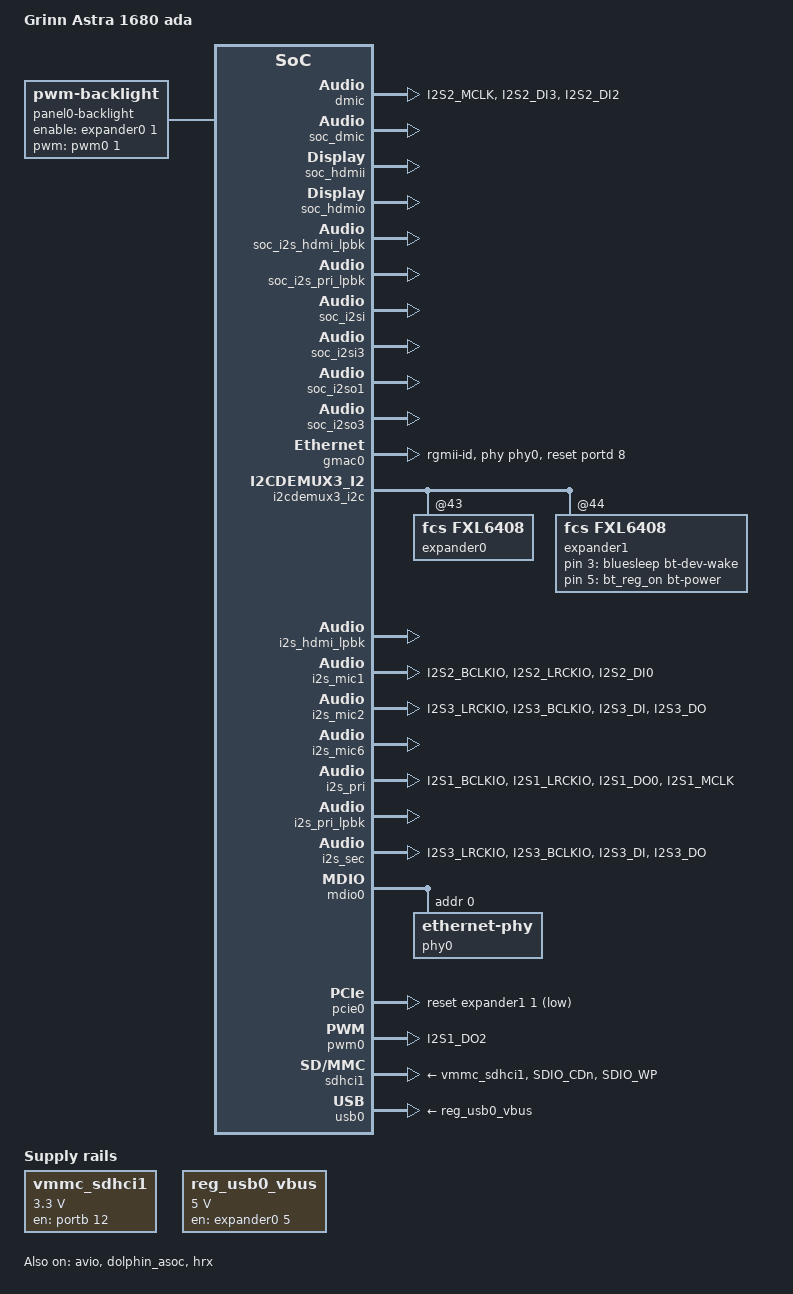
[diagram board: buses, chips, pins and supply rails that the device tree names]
/* SPDX-License-Identifier: GPL-2.0+ */
/*
* Copyright (C) 2016~2023 Synaptics Incorporated. All rights reserved.
*
* This program is free software; you can redistribute it and/or modify
* it under the terms of the GNU General Public License version 2 or
* later as published by the Free Software Foundation.
*
* INFORMATION CONTAINED IN THIS DOCUMENT IS PROVIDED "AS-IS," AND
* SYNAPTICS EXPRESSLY DISCLAIMS ALL EXPRESS AND IMPLIED WARRANTIES,
* INCLUDING ANY IMPLIED WARRANTIES OF MERCHANTABILITY AND FITNESS FOR
* A PARTICULAR PURPOSE, AND ANY WARRANTIES OF NON-INFRINGEMENT OF ANY
* INTELLECTUAL PROPERTY RIGHTS. IN NO EVENT SHALL SYNAPTICS BE LIABLE
* FOR ANY DIRECT, INDIRECT, INCIDENTAL, SPECIAL, PUNITIVE, OR
* CONSEQUENTIAL DAMAGES ARISING OUT OF OR IN CONNECTION WITH THE USE
* OF THE INFORMATION CONTAINED IN THIS DOCUMENT, HOWEVER CAUSED AND
* BASED ON ANY THEORY OF LIABILITY, WHETHER IN AN ACTION OF CONTRACT,
* NEGLIGENCE OR OTHER TORTIOUS ACTION, AND EVEN IF SYNAPTICS WAS
* ADVISED OF THE POSSIBILITY OF SUCH DAMAGE. IF A TRIBUNAL OF
* COMPETENT JURISDICTION DOES NOT PERMIT THE DISCLAIMER OF DIRECT
* DAMAGES OR ANY OTHER DAMAGES, SYNAPTICS' TOTAL CUMULATIVE LIABILITY
* TO ANY PARTY SHALL NOT EXCEED ONE HUNDRED U.S. DOLLARS.
*/

/dts-v1/;

#include "grinn-astra-1680.dtsi"

/ {
	model = "Grinn Astra 1680 ada";
	compatible = "syna,dolphin-evk", "syna,dolphin";

	bluesleep: bluesleep {
		compatible = "syna,bluesleep";
		bt-dev-wake-gpio = <&expander1 3 GPIO_ACTIVE_HIGH>;
	};

	bt_reg_on: bt_reg_on {
		compatible = "syna,rfkill";
		bt-power-gpio = <&expander1 5 GPIO_ACTIVE_HIGH>;
	};

	panel0-backlight {
		compatible = "pwm-backlight";
		pwms = <&pwm0 1 1000000 0>;
		brightness-levels = <0 4 8 16 32 64 128 255>;
		default-brightness-level = <6>;
		enable-gpio = <&expander0 1 GPIO_ACTIVE_HIGH>;
		status = "okay";
	};

	regulators {
		compatible = "simple-bus";
		#address-cells = <1>;
		#size-cells = <0>;

		vmmc_sdhci1: vmmc_sdhci1 {
			compatible = "regulator-fixed";
			regulator-name = "vmmc_sdio";
			regulator-min-microvolt = <3300000>;
			regulator-max-microvolt = <3300000>;
			enable-active-high;
			gpio = <&portb 12 GPIO_ACTIVE_HIGH>;
		};

		reg_usb0_vbus: usb0_vbus {
			compatible = "regulator-fixed";
			regulator-name = "usb0_vbus";
			regulator-min-microvolt = <5000000>;
			regulator-max-microvolt = <5000000>;
			enable-active-high;
			gpio = <&expander0 5 GPIO_ACTIVE_HIGH>;
		};
	};
};

&avio {
	status = "okay";
	pinctrl-0 = <&hdmitx5v_pmux>;
	pinctrl-names = "default";

	vpp {
		hdtx5v-gpio = <&portb 23 GPIO_ACTIVE_HIGH>;
	};
};

&avio_pinctrl {
	pdm_pmux: pdm-pmux {
		groups = "I2S2_MCLK", "I2S2_DI3", "I2S2_DI2";
		function = "pdm";
	};

	i2s1_pmux: i2s1-pmux {
		groups = "I2S1_BCLKIO", "I2S1_LRCKIO", "I2S1_DO0", "I2S1_MCLK";
		function = "i2s1";
	};

	i2s2_pmux: i2s2-pmux {
		groups = "I2S2_BCLKIO", "I2S2_LRCKIO", "I2S2_DI0";
		function = "i2s2";
	};

	i2s3_pmux: i2s3-pmux {
		groups = "I2S3_LRCKIO", "I2S3_BCLKIO", "I2S3_DI", "I2S3_DO";
		function = "i2s3";
	};

	pwm2_pmux: pwm2-pmux {
		groups = "I2S1_DO2";
		function = "pwm";
	};
};

&dmic {
	status = "okay";
	pinctrl-0 = <&pdm_pmux>;
	pinctrl-names = "default";
	pdm-type = <1>;
	pdm-clk-sel = <2>;
	ch-shift-check;
};

&dolphin_asoc {
	status = "okay";

	soc_dmic: soc-dmic {
		status = "okay";
		stream-name = "soc-dmic";
		link-name = "soc-dmic";
		cpu-node = <&dmic>;
		codec-name = "snd-soc-dummy";
		codec-dai-name = "snd-soc-dummy-dai";
		platform-node = <&dolphin_pcm>;
	};

	soc_hdmii: soc-hdmii {
		status = "okay";
		stream-name = "soc-hdmii";
		link-name = "soc-hdmii";
		cpu-node = <&hdmi_in>;
		codec-name = "snd-soc-dummy";
		codec-dai-name = "snd-soc-dummy-dai";
		platform-node = <&dolphin_pcm>;
	};

	soc_hdmio: soc-hdmio {
		status = "okay";
		stream-name = "soc-hdmio";
		link-name = "soc-hdmio";
		format = "i2s";
		cpu-node = <&hdmi_out>;
		codec-name = "snd-soc-dummy";
		codec-dai-name = "snd-soc-dummy-dai";
		platform-node = <&dolphin_pcm>;
	};

	soc_i2s_hdmi_lpbk: soc-i2s-hdmi-lpbk {
		status = "okay";
		stream-name = "soc-i2s-hdmi-lpbk";
		link-name = "soc-i2s-hdmi-lpbk";
		format = "i2s";
		cpu-node = <&i2s_hdmi_lpbk>;
		codec-name = "snd-soc-dummy";
		codec-dai-name = "snd-soc-dummy-dai";
		platform-node = <&dolphin_pcm>;
	};

	soc_i2s_pri_lpbk: soc-i2s-pri-lpbk {
		status = "okay";
		stream-name = "soc-i2s-pri-lpbk";
		link-name = "soc-i2s-pri-lpbk";
		format = "i2s";
		cpu-node = <&i2s_pri_lpbk>;
		codec-name = "snd-soc-dummy";
		codec-dai-name = "snd-soc-dummy-dai";
		platform-node = <&dolphin_pcm>;
	};

	soc_i2si: soc-i2si2 {
		status = "okay";
		stream-name = "soc-i2si2";
		link-name = "soc-i2si2";
		format = "i2s";
		bitclock-master;
		frame-master;
		cpu-node = <&i2s_mic1>;
		codec-name = "snd-soc-dummy";
		codec-dai-name = "snd-soc-dummy-dai";
		platform-node = <&dolphin_pcm>;
	};

	soc_i2si3: soc-i2si3 {
		status = "okay";
		stream-name = "btsco-in";
		link-name = "btsco-in";
		format = "dsp_b";
		bitclock-master;
		frame-master;
		continuous-clock;
		cpu-node = <&i2s_mic2>;
		codec-name = "snd-soc-dummy";
		codec-dai-name = "snd-soc-dummy-dai";
		platform-node = <&dolphin_pcm>;
	};

	soc_i2so1: soc-i2so1 {
		status = "okay";
		stream-name = "soc-i2so1";
		link-name = "soc-i2so1";
		format = "i2s";
		continuous-clock;
		bitclock-inversion;
		frame-inversion;
		cpu-node = <&i2s_pri>;
		codec-name = "snd-soc-dummy";
		codec-dai-name = "snd-soc-dummy-dai";
		platform-node = <&dolphin_pcm>;
	};

	soc_i2so3: soc-i2so3 {
		status = "okay";
		stream-name = "soc-i2so3";
		link-name = "soc-i2so3";
		format = "dsp_b";
		bitclock-master;
		frame-master;
		cpu-node = <&i2s_sec>;
		codec-name = "snd-soc-dummy";
		codec-dai-name = "snd-soc-dummy-dai";
		platform-node = <&dolphin_pcm>;
	};
};

&gmac0 {
	status = "okay";
	pinctrl-0 = <&gmac0_pmux>, <&gmac_gpio_pmux>;
	pinctrl-names = "default";
	phy-handle = <&phy0>;
	phy-mode = "rgmii-id";
	snps,reset-gpio = <&portd 8 GPIO_ACTIVE_HIGH>;
	snps,reset-delays-us = <0 10000 50000>;
};

&hrx {
	status = "okay";
	pinctrl-0 = <&hrx5v_pmux>, <&hrxhpd_pmux>, <&hrxedid_pmux>;
	pinctrl-names = "default";
	hrxhpd-gpio = <&portd 2 GPIO_ACTIVE_HIGH>;
	hrx5v-gpio = <&portd 21 GPIO_ACTIVE_HIGH>;
};

&i2cdemux3_i2c {
	expander0: gpio@43 {
		compatible = "fcs,fxl6408";
		reg = <0x43>;
		gpio-controller;
		#gpio-cells = <2>;
		gpio-line-names = "PWR_SOC_VCORE_EN", "PWR_ON_DSI", "VDDM_ON", "VDDM_LPQ_OFF",
				  "STAND_BY_EN", "USB2.0_PWR_EN", "M2_PCIe_CLK_REQ", "GPIO_DSI";
	};

	expander1: gpio@44 {
		compatible = "fcs,fxl6408";
		reg = <0x44>;
		gpio-controller;
		#gpio-cells = <2>;
		gpio-line-names = "GPIO_CSI0", "M2_PCIe_RST", "M2_SDIO_DISABLE1", "M2_SDIO_HOST_WAKE",
				  "PWR_ON_CSI0", "M2_SDIO_HOST_DISABLE2", "GPIO_CSI1", "PWR_ON_CSI1";
	};
};

&i2s_hdmi_lpbk {
	status = "okay";
};

&i2s_mic1 {
	status = "okay";
	pinctrl-0 = <&i2s2_pmux>;
	pinctrl-names = "default";
	intlmode;
};

&i2s_mic2 {
	status = "okay";
	pinctrl-0 = <&i2s3_pmux>;
	pinctrl-names = "default";
	duplex;
	disablemicmute;
};

&i2s_mic6 {
	status = "okay";
};

&i2s_pri {
	status = "okay";
	pinctrl-0 = <&i2s1_pmux>;
	pinctrl-names = "default";
};

&i2s_pri_lpbk {
	status = "okay";
};

&i2s_sec {
	status = "okay";
	pinctrl-0 = <&i2s3_pmux>;
	pinctrl-names = "default";
	duplex;
	sample-period = <32>;
};

&mdio0 {
	phy0: ethernet-phy@0 {
		reg = <0>;
		realtek,clkout-disable;
		realtek,rxc-ssc-enable;
		realtek,sysclk-ssc-enable;
	};
};

&pcie0 {
	reset-gpios = <&expander1 1 GPIO_ACTIVE_LOW>;
};

&pinctrl {
	hdmitx5v_pmux: hdmitx5v-pmux {
		groups = "USB2_DRV_VBUS";
		function = "gpio";
	};

	sdhci1_pmux: sdhci1-pmux {
		groups = "SDIO_CDn";
		function = "sdio";
		drive-strength = <7>;
	};

	sdhci1_gpio_pmux: sdhci1-gpio-pmux {
		groups = "SDIO_WP";
		function = "gpio";
	};
};

&pwm0 {
	status = "okay";
	pinctrl-0 = <&pwm2_pmux>;
	pinctrl-names = "default";
};

&sdhci1 {
	status = "okay";
	pinctrl-0 = <&sdhci1_pmux>, <&sdhci1_gpio_pmux>;
	pinctrl-names = "default";
	no-sdio;
	no-mmc;
	disable-wp;
	sdclkdl-dc = /bits/ 8 <75>;
	pad-sp = /bits/ 8 <4>;
	pad-sn = /bits/ 8 <4>;
	vmmc-supply = <&vmmc_sdhci1>;
};

&sm_gpio0 {
	pinctrl-0 = <&levelshift_pmux>;
};

&sm_pinctrl {
	hrx5v_pmux: hrx5v-pmux {
		groups = "SM_HDMIRX_PWR5V";
		function = "gpio";
		drive-strength = <7>;
	};

	hrxhpd_pmux: hrxhpd-pmux {
		groups = "SM_HDMI_HPD";
		function = "gpio";
	};

	hrxedid_pmux: hrxedid-pmux {
		groups = "SM_TW2_SCL", "SM_TW2_SDA";
		function = "rx_edid";
		drive-strength = <7>;
	};

	levelshift_pmux: levelshift-pmux {
		groups = "SM_HDMIRX_HPD";
		function = "gpio";
	};
};

&usb0 {
	status = "okay";
	vbus-supply = <&reg_usb0_vbus>;
};
